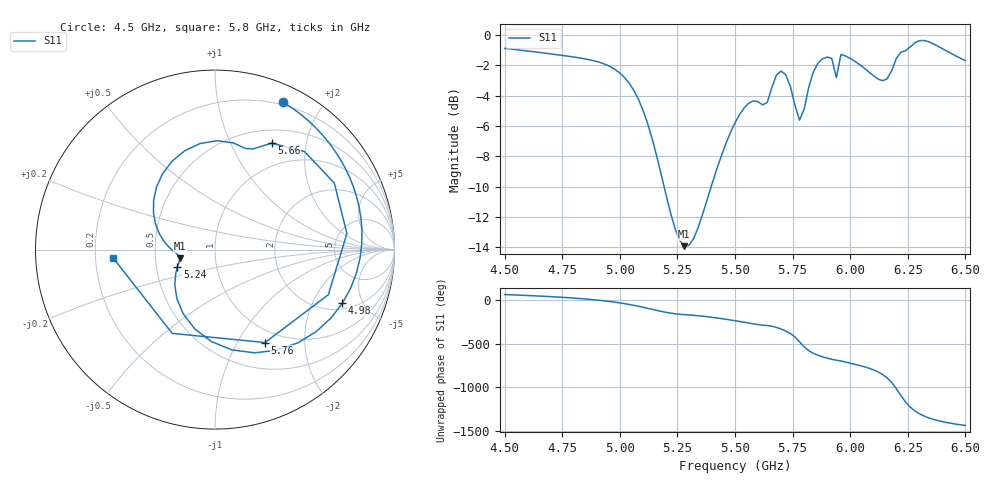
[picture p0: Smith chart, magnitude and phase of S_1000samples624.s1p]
! TOUCHSTONE file generated by CST MICROWAVE STUDIO
! Date and time: Fri Oct 28 19:41:47 2022
! Project name: L.cst
! Parameters = {Di=1.27; Epsilon_r=1.56; InnerDiameter=1.27; Length=2; Lf=10; Lg=60; OuterConductorThickness=0.2921; OuterDiameter=3.6; Wf=3; Wp=41.2; de=1.5; df=6.8; g=0.8; gx=2.94767; gy=1.26082; h=2.34; hf=1.524; px=10.5099; py=14.0044; w=9.7; wx=7.56224; wy=12.7436}
! Header version: 2018
! Port assignment regex: !\s*Touchstone port\s*([0-9]+)\s*=\s*(CST MWS port|CST DS port)\s*([0-9]+|Zmin|Zmax)\s*\(\"(.*)\"\)(\s*mode\s*([0-9]+))?.*
! Touchstone port assignment:
! Touchstone port 1 = CST MWS port 1 ("")
# GHz S DB R 50
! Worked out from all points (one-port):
!   101 points, 4.5 GHz to 6.5 GHz, reference 50 ohm
!   lowest |S11| = -13.9 dB at 5.28 GHz (marker M1), VSWR 1.50, Z = 33.5 - j3.42 ohm
!   |S11| at or under -10 dB: 5.192 GHz to 5.397 GHz (204.6 MHz wide, 3.86 % of centre)
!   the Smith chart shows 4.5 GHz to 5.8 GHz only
!   S11 on the Smith chart (normalised r, x): 4.5 GHz: 0.17, +1.55; 4.98 GHz: 2.35, -3.44; 5.24 GHz: 0.64, -0.13; 5.66 GHz: 0.67, +1.45; 5.76 GHz: 0.83, -1.31; 5.8 GHz: 0.27, -0.04
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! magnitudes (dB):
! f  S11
! 4.5 GHz  -0.9
! 4.76 GHz  -1.4
! 4.98 GHz  -2.3
! 5 GHz  -2.5
! 5.1 GHz  -4.9
! 5.24 GHz  -12.8
! 5.26 GHz  -13.6
! 5.28 GHz  -13.9
! 5.34 GHz  -12.7
! 5.5 GHz  -5.8
! 5.56 GHz  -4.5
! 5.64 GHz  -4.4
! 5.66 GHz  -3.5
! 5.7 GHz  -2.4
! 5.74 GHz  -3.4
! 5.76 GHz  -4.6
! 5.78 GHz  -5.6
! 5.8 GHz  -4.9
! 5.84 GHz  -2.4
! 5.86 GHz  -1.9
! 5.92 GHz  -1.5
! 5.94 GHz  -2.8
! 5.96 GHz  -1.3
! 6 GHz  -1.5
! 6.14 GHz  -3.0
! 6.26 GHz  -0.8
! 6.32 GHz  -0.3
! 6.5 GHz  -1.7
